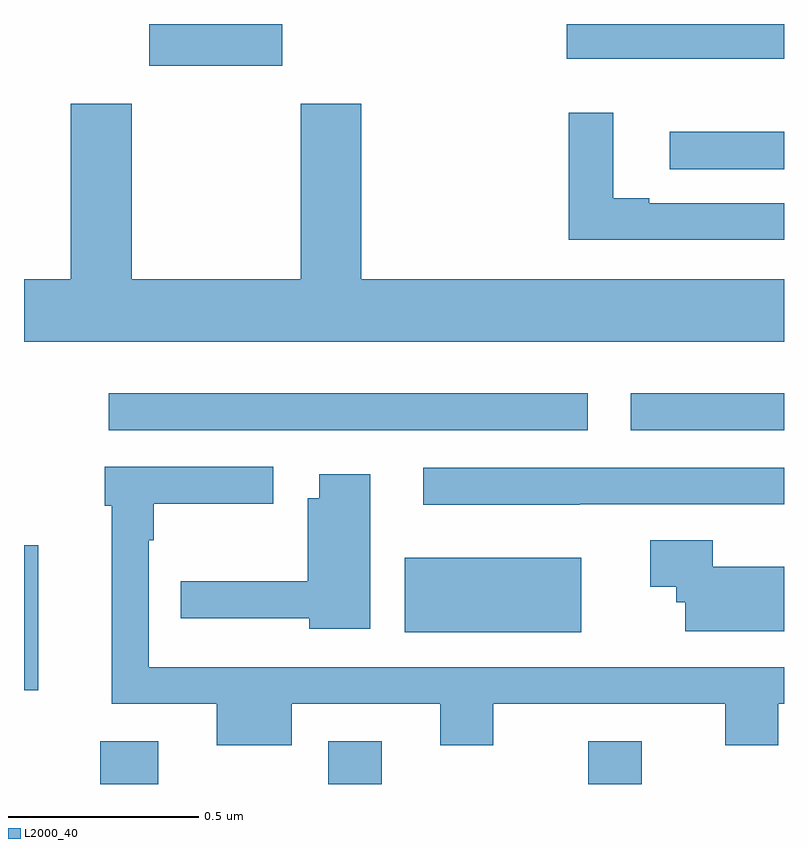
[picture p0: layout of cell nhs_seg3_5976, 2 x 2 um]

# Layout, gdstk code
import gdstk
lib = gdstk.Library(unit=1e-6, precision=1e-09)
def R(c, l, rs):  # rectangles x0, y0, x1, y1
    for r in rs: c.add(gdstk.rectangle(r[:2], r[2:], *l))
def P(c, l, *ps):  # polygons
    for p in ps: c.add(gdstk.Polygon(p, *l))
L2000_40 = (2000, 40)

nhs_seg3_5976 = lib.new_cell('nhs_seg3_5976')
R(nhs_seg3_5976, L2000_40, [(185.201,718.4,185.353,718.513), (185.801,718.4,185.941,718.513), (186.485,718.4,186.625,718.513), (185,718.647,185.038,719.028), (186.002,718.799,186.466,718.996), (185.223,719.331,186.484,719.428), (186.597,719.331,187,719.428), (186.699,720.018,187,720.116), (185.33,720.29,185.68,720.4), (186.428,720.308,187,720.4)])
P(nhs_seg3_5976, L2000_40, [(187,719.728),(185.888,719.728),(185.888,720.19),(185.728,720.19),(185.728,719.728),(185.283,719.728),(185.283,720.19),(185.123,720.19),(185.123,719.728),(185,719.728),(185,719.564),(187,719.564)],
  [(187,719.928),(186.646,719.928),(186.646,719.941),(186.55,719.941),(186.55,720.166),(186.433,720.166),(186.433,719.832),(187,719.832)],
  [(185.704,718.611),(186.095,718.611),(186.095,718.502),(186.235,718.502),(186.235,718.611),(186.845,718.611),(186.845,718.502),(186.985,718.502),(186.985,718.611),(187,718.611),(187,718.707),(185.328,718.707),(185.328,719.042),(185.341,719.042),(185.341,719.138),(185.656,719.138),(185.656,719.235),(185.212,719.235),(185.212,719.132),(185.231,719.132),(185.231,718.611),(185.507,718.611),(185.507,718.502),(185.704,718.502)],
  [(186.462,719.136),(187,719.136),(187,719.232),(186.051,719.232),(186.051,719.135),(186.462,719.135)],
  [(185.911,719.215),(185.777,719.215),(185.777,719.152),(185.747,719.152),(185.747,718.934),(185.413,718.934),(185.413,718.836),(185.751,718.836),(185.751,718.808),(185.911,718.808)],
  [(187,718.972),(186.813,718.972),(186.813,719.041),(186.648,719.041),(186.648,718.919),(186.717,718.919),(186.717,718.878),(186.74,718.878),(186.74,718.802),(187,718.802)])

lib.write_gds('nhs_seg3_5976.gds')
